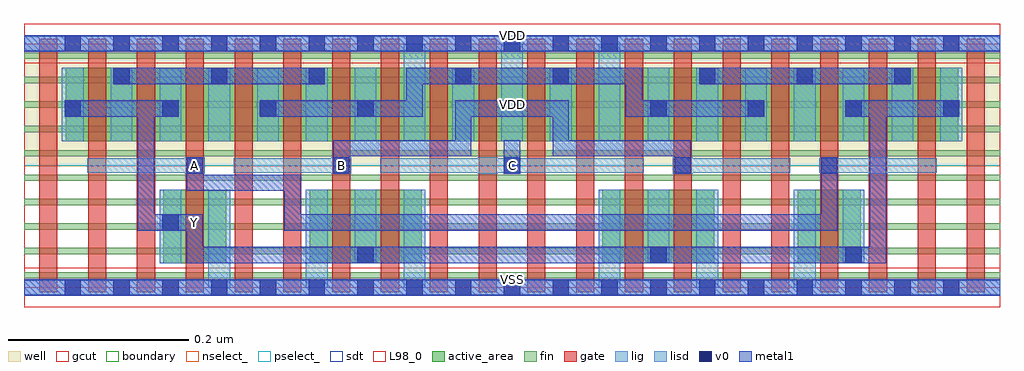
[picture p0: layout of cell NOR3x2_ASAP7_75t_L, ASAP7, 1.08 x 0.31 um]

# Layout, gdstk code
import gdstk
lib = gdstk.Library(unit=1e-6, precision=2.5e-10)
def R(c, l, rs):  # rectangles x0, y0, x1, y1
    for r in rs: c.add(gdstk.rectangle(r[:2], r[2:], *l))
def A(c, l, x, y, w, h, nx, ny, dx, dy):  # array of equal rectangles
    R(c, l, [(x+i*dx, y+j*dy, x+i*dx+w, y+j*dy+h) for i in range(nx) for j in range(ny)])
def P(c, l, *ps):  # polygons
    for p in ps: c.add(gdstk.Polygon(p, *l))
well = (1, 0)
fin = (2, 0)
gate = (7, 0)
gcut = (10, 0)
active_area = (11, 0)
nselect_ = (12, 0)
pselect_ = (13, 0)
lig = (16, 0)
lisd = (17, 0)
v0 = (18, 0)
metal1 = (19, 0)
sdt = (88, 0)
L98_0 = (98, 0)
boundary = (100, 0)

nor3x2_asap7_75t_l = lib.new_cell('NOR3x2_ASAP7_75t_L')
R(nor3x2_asap7_75t_l, well, [(0,0.135,1.08,0.27)])
A(nor3x2_asap7_75t_l, fin, 0, 0.01, 1.08, 0.007, 1, 10, 0, 0.027)
A(nor3x2_asap7_75t_l, gate, 0.017, -0.005, 0.02, 0.28, 20, 1, 0.054, 0)
R(nor3x2_asap7_75t_l, gcut, [(0,-0.022,1.08,0.022), (0,0.248,1.08,0.292)])
R(nor3x2_asap7_75t_l, active_area, [(0.154,0.027,0.224,0.108), (0.316,0.027,0.44,0.108), (0.64,0.027,0.764,0.108), (0.856,0.027,0.926,0.108), (0.046,0.162,1.034,0.243)])
R(nor3x2_asap7_75t_l, nselect_, [(0,0,1.08,0.135)])
R(nor3x2_asap7_75t_l, pselect_, [(0,0.135,1.08,0.27)])
A(nor3x2_asap7_75t_l, lig, 0.178, 0.126, 0.022, 0.018, 3, 1, 0.162, 0)
R(nor3x2_asap7_75t_l, lig, [(0,-0.008,1.08,0.008), (0.718,0.126,0.74,0.144), (0.934,0.126,0.956,0.144), (0.07,0.127,0.2,0.143), (0.232,0.127,0.362,0.143), (0.394,0.127,0.686,0.143), (0.718,0.127,0.848,0.143), (0.88,0.127,1.01,0.143), (0,0.262,1.08,0.278)])
A(nor3x2_asap7_75t_l, lisd, 0.042, 0.162, 0.024, 0.081, 7, 1, 0.054, 0)
A(nor3x2_asap7_75t_l, lisd, 0.474, 0.162, 0.024, 0.081, 3, 1, 0.108, 0)
A(nor3x2_asap7_75t_l, lisd, 0.744, 0.162, 0.024, 0.081, 6, 1, 0.054, 0)
R(nor3x2_asap7_75t_l, lisd, [(0.204,0,0.228,0.108), (0.204,0,0.228,0.108), (0.312,0,0.336,0.108), (0.312,0,0.336,0.108), (0.42,0,0.444,0.108), (0.42,0,0.444,0.108), (0.636,0,0.66,0.108), (0.636,0,0.66,0.108), (0.744,0,0.768,0.108), (0.744,0,0.768,0.108), (0.852,0,0.876,0.108), (0.852,0,0.876,0.108), (0.15,0.027,0.174,0.108), (0.366,0.027,0.39,0.108), (0.69,0.027,0.714,0.108), (0.906,0.027,0.93,0.108), (0.42,0.162,0.444,0.27), (0.42,0.162,0.444,0.27), (0.528,0.162,0.552,0.27), (0.528,0.162,0.552,0.27), (0.636,0.162,0.66,0.27), (0.636,0.162,0.66,0.27)])
A(nor3x2_asap7_75t_l, v0, 0.045, -0.009, 0.018, 0.018, 19, 2, 0.054, 0.27)
A(nor3x2_asap7_75t_l, v0, 0.342, 0.126, 0.018, 0.018, 3, 1, 0.189, 0)
A(nor3x2_asap7_75t_l, v0, 0.045, 0.189, 0.018, 0.018, 4, 1, 0.108, 0)
A(nor3x2_asap7_75t_l, v0, 0.693, 0.189, 0.018, 0.018, 4, 1, 0.108, 0)
A(nor3x2_asap7_75t_l, v0, 0.099, 0.225, 0.018, 0.018, 3, 1, 0.108, 0)
A(nor3x2_asap7_75t_l, v0, 0.747, 0.225, 0.018, 0.018, 3, 1, 0.108, 0)
R(nor3x2_asap7_75t_l, v0, [(0.369,0.027,0.387,0.045), (0.693,0.027,0.711,0.045), (0.909,0.027,0.927,0.045), (0.153,0.063,0.171,0.081), (0.18,0.126,0.198,0.144), (0.882,0.126,0.9,0.144), (0.477,0.225,0.495,0.243), (0.585,0.225,0.603,0.243)])
A(nor3x2_asap7_75t_l, metal1, 0.342, 0.126, 0.018, 0.018, 3, 1, 0.189, 0)
A(nor3x2_asap7_75t_l, metal1, 0.045, 0.189, 0.018, 0.018, 4, 1, 0.108, 0)
A(nor3x2_asap7_75t_l, metal1, 0.693, 0.189, 0.018, 0.018, 4, 1, 0.108, 0)
A(nor3x2_asap7_75t_l, metal1, 0.099, 0.225, 0.018, 0.018, 3, 1, 0.108, 0)
A(nor3x2_asap7_75t_l, metal1, 0.747, 0.225, 0.018, 0.018, 3, 1, 0.108, 0)
R(nor3x2_asap7_75t_l, metal1, [(0,-0.009,1.08,0.009), (0.369,0.027,0.387,0.045), (0.693,0.027,0.711,0.045), (0.909,0.027,0.927,0.045), (0.153,0.063,0.171,0.081), (0.18,0.126,0.198,0.144), (0.531,0.126,0.549,0.163), (0.882,0.126,0.9,0.144), (0.099,0.225,0.333,0.243), (0.477,0.225,0.495,0.243), (0.585,0.225,0.603,0.243), (0.747,0.225,0.981,0.243), (0,0.261,1.08,0.279)])
P(nor3x2_asap7_75t_l, metal1, [(1.035,0.207),(0.909,0.207),(0.909,0.189),(0.936,0.189),(0.936,0.045),(0.198,0.045),(0.198,0.081),(0.144,0.081),(0.144,0.189),(0.171,0.189),(0.171,0.207),(0.045,0.207),(0.045,0.189),(0.126,0.189),(0.126,0.063),(0.18,0.063),(0.18,0.027),(0.954,0.027),(0.954,0.189),(1.035,0.189)],
  [(0.882,0.144),(0.882,0.081),(0.306,0.081),(0.306,0.125),(0.198,0.125),(0.198,0.144),(0.18,0.144),(0.18,0.107),(0.288,0.107),(0.288,0.063),(0.9,0.063),(0.9,0.144)],
  [(0.72,0.126),(0.738,0.126),(0.738,0.163),(0.603,0.163),(0.603,0.207),(0.477,0.207),(0.477,0.163),(0.342,0.163),(0.342,0.126),(0.36,0.126),(0.36,0.145),(0.495,0.145),(0.495,0.189),(0.585,0.189),(0.585,0.145),(0.72,0.145)],
  [(0.819,0.207),(0.684,0.207),(0.684,0.243),(0.423,0.243),(0.423,0.207),(0.261,0.207),(0.261,0.189),(0.441,0.189),(0.441,0.225),(0.666,0.225),(0.666,0.189),(0.819,0.189)])
A(nor3x2_asap7_75t_l, sdt, 0.312, 0.027, 0.024, 0.081, 3, 1, 0.054, 0)
A(nor3x2_asap7_75t_l, sdt, 0.636, 0.027, 0.024, 0.081, 3, 1, 0.054, 0)
A(nor3x2_asap7_75t_l, sdt, 0.042, 0.162, 0.024, 0.081, 8, 1, 0.054, 0)
A(nor3x2_asap7_75t_l, sdt, 0.42, 0.162, 0.024, 0.081, 3, 1, 0.054, 0)
A(nor3x2_asap7_75t_l, sdt, 0.528, 0.162, 0.024, 0.081, 3, 1, 0.054, 0)
A(nor3x2_asap7_75t_l, sdt, 0.636, 0.162, 0.024, 0.081, 8, 1, 0.054, 0)
R(nor3x2_asap7_75t_l, sdt, [(0.15,0.027,0.174,0.108), (0.204,0.027,0.228,0.108), (0.204,0.027,0.228,0.108), (0.312,0.027,0.336,0.108), (0.42,0.027,0.444,0.108), (0.636,0.027,0.66,0.108), (0.744,0.027,0.768,0.108), (0.852,0.027,0.876,0.108), (0.852,0.027,0.876,0.108), (0.906,0.027,0.93,0.108)])
R(nor3x2_asap7_75t_l, L98_0, [(0,0,1.08,0.27)])
R(nor3x2_asap7_75t_l, boundary, [(0,0,1.08,0.27)])
nor3x2_asap7_75t_l.add(gdstk.Label('VDD', (0.54,0.2025), layer=1, texttype=251))
nor3x2_asap7_75t_l.add(gdstk.Label('VSS', (0.54,-0.0675), layer=3, texttype=251))
nor3x2_asap7_75t_l.add(gdstk.Label('VSS', (0.54,0.009), layer=19, texttype=251))
nor3x2_asap7_75t_l.add(gdstk.Label('VDD', (0.54,0.279), layer=19, texttype=251))
nor3x2_asap7_75t_l.add(gdstk.Label('Y', (0.189,0.072), layer=19, texttype=251))
nor3x2_asap7_75t_l.add(gdstk.Label('A', (0.189,0.135), layer=19, texttype=251))
nor3x2_asap7_75t_l.add(gdstk.Label('B', (0.351,0.135), layer=19, texttype=251))
nor3x2_asap7_75t_l.add(gdstk.Label('C', (0.54,0.135), layer=19, texttype=251))

lib.write_gds('NOR3x2_ASAP7_75t_L.gds')
